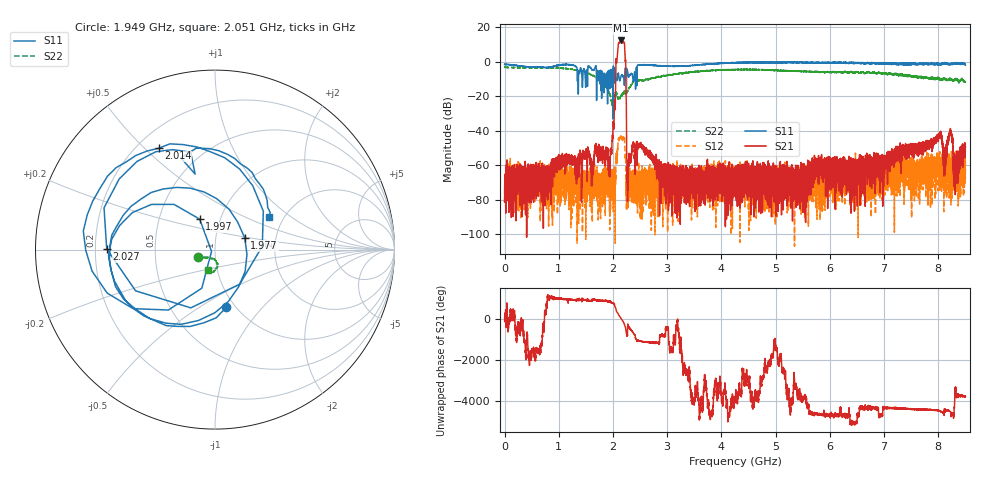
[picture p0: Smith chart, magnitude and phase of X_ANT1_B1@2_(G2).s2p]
#  HZ  S  RI  R  50.00
! Rohde & Schwarz Vector Network Analyzer
! Rohde-Schwarz,ZNBT8-20Port,1318700624101681,3.50
! Created: UTC 7/15/2025, 2:07:57 PM
! freq[Hz]  re:S1010  im:S1010  re:S0510  im:S0510  re:S1005  im:S1005  re:S55  im:S55
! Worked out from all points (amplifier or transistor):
!   8500 points, 1 MHz to 8.5 GHz, reference 50 ohm
!   highest |S21| = 12.2 dB at 2.142 GHz (marker M1)
!   |S21| within 3 dB of that: 2.095 GHz to 2.215 GHz (119.9 MHz wide, 5.57 % of centre)
!   unconditionally stable (mu >= 1): start of sweep to end of sweep
!   at 1.417 GHz: K = 520789.39, MAG = -54.7 dB, |S12| = -68.8 dB
!   at 4.251 GHz: K = 144371.18, MAG = -57.8 dB, |S12| = -61.6 dB
!   at 8.5 GHz: K = 31910.48, MAG = -44.8 dB, |S12| = -55.9 dB
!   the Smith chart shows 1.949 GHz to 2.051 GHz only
!   S11 on the Smith chart (normalised r, x): 1.949 GHz: 0.91, -0.66; 1.977 GHz: 1.38, +0.19; 1.997 GHz: 0.80, +0.28; 2.014 GHz: 0.29, +0.55; 2.027 GHz: 0.25, +0.00; 2.051 GHz: 1.69, +0.69
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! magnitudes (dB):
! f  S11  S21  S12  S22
! 1 MHz  -1.7  -80.3  -81.4  -3.4
! 110 MHz  -1.9  -78.5  -64.4  -3.5
! 1.418 GHz  -5.1  -56.3  -67.5  -5.6
! 1.949 GHz  -9.7  -55.7  -80.1  -19.9
! 1.977 GHz  -15.0  -53.1  -78.2  -23.6
! 1.997 GHz  -14.4  -43.3  -70.4  -25.1
! 2.014 GHz  -3.8  -38.8  -64.7  -21.5
! 2.027 GHz  -4.4  -22.2  -67.2  -18.8
! 2.051 GHz  -9.1  -9.1  -61.7  -18.5
! 2.142 GHz  -9.2  12.2  -43.2  -19.9
! 2.205 GHz  -10.8  10.9  -44.5  -17.6
! 2.293 GHz  -8.6  -54.4  -63.4  -15.6
! 2.504 GHz  -1.9  -48.2  -68.9  -10.7
! 2.834 GHz  -2.4  -60.5  -71.4  -8.9
! 4.251 GHz  -0.7  -68.0  -61.6  -4.7
! 5.667 GHz  -0.3  -62.5  -64.5  -5.9
! 7.084 GHz  -1.1  -53.7  -61.9  -6.8
! 8.017 GHz  -1.3  -42.7  -71.7  -10.1
! 8.12 GHz  -1.3  -65.7  -77.3  -9.8
! 8.228 GHz  -1.6  -41.7  -75.5  -10.0
! 8.318 GHz  -1.1  -55.4  -57.3  -10.6
! 8.5 GHz  -2.0  -49.5  -55.9  -11.6
